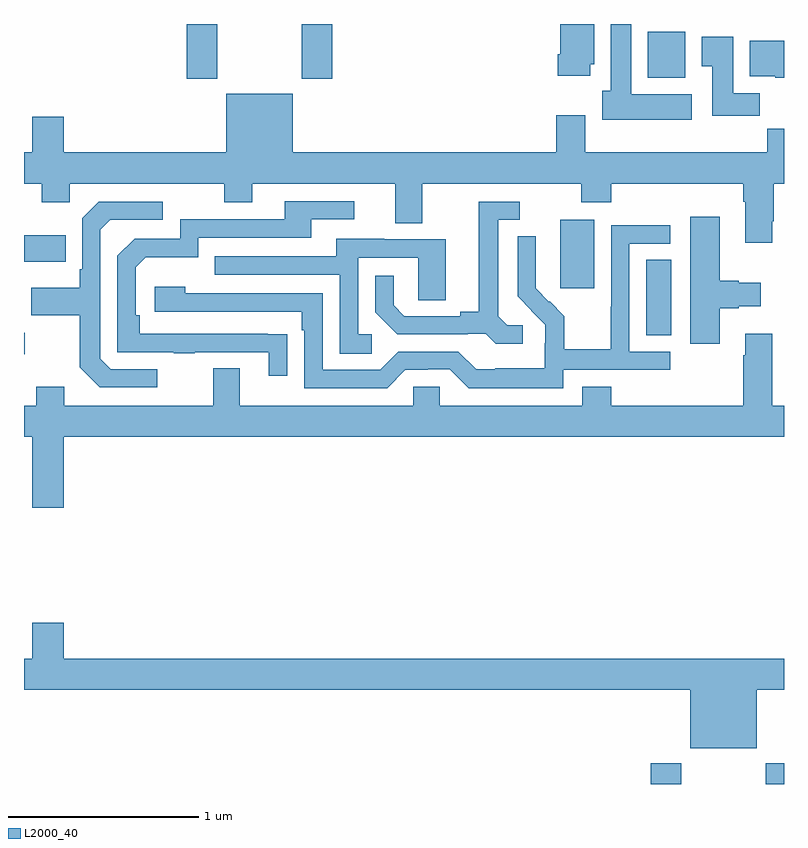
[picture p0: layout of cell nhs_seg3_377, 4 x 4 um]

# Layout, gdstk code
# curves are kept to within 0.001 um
import gdstk
lib = gdstk.Library(unit=1e-6, precision=1e-09)
def R(c, l, rs):  # rectangles x0, y0, x1, y1
    for r in rs: c.add(gdstk.rectangle(r[:2], r[2:], *l))
def P(c, l, *ps):  # polygons
    for p in ps: c.add(gdstk.Polygon(p, *l))
L2000_40 = (2000, 40)

nhs_seg3_377 = lib.new_cell('nhs_seg3_377')
R(nhs_seg3_377, L2000_40, [(132.299,720.4,132.459,720.508), (132.904,720.4,133,720.508), (129,722.661,129.004,722.774), (132.275,722.761,132.406,723.158), (131.822,723.009,132.001,723.37), (129,723.149,129.221,723.289), (129.857,724.113,130.017,724.4), (130.462,724.113,130.622,724.4), (132.284,724.118,132.481,724.36)])
P(nhs_seg3_377, L2000_40, [(131.98,724.188),(132.001,724.188),(132.001,724.4),(131.822,724.4),(131.822,724.24),(131.81,724.24),(131.81,724.128),(131.98,724.128)],
  [(132.514,724.03),(132.196,724.03),(132.196,724.4),(132.089,724.4),(132.089,724.05),(132.044,724.05),(132.044,723.896),(132.514,723.896)],
  [(132.872,724.036),(132.733,724.036),(132.733,724.333),(132.566,724.333),(132.566,724.177),(132.623,724.177),(132.623,723.918),(132.872,723.918)],
  [(133,724.312),(132.821,724.312),(132.821,724.124),(132.954,724.124),(132.954,724.118),(133,724.118)],
  [(132.937,723.361),(132.945,723.361),(132.945,723.56),(133,723.56),(133,723.848),(132.913,723.848),(132.913,723.724),(131.953,723.724),(131.953,723.919),(131.801,723.919),(131.801,723.724),(130.414,723.724),(130.414,724.033),(130.064,724.033),(130.064,723.724),(129.208,723.724),(129.208,723.913),(129.044,723.913),(129.044,723.724),(129,723.724),(129,723.56),(129.094,723.56),(129.094,723.461),(129.24,723.461),(129.24,723.56),(130.054,723.56),(130.054,723.461),(130.201,723.461),(130.201,723.56),(130.955,723.56),(130.955,723.352),(131.095,723.352),(131.095,723.56),(131.932,723.56),(131.932,723.461),(132.092,723.461),(132.092,723.56),(132.785,723.56),(132.785,723.464),(132.797,723.464),(132.797,723.249),(132.937,723.249)],
  [(130.385,722.768),(129.608,722.769),(129.608,722.866),(129.588,722.866),(129.588,723.12),(129.641,723.173),(129.918,723.173),(129.918,723.276),(130.513,723.276),(130.513,723.372),(130.738,723.372),(130.738,723.468),(130.373,723.468),(130.373,723.372),(129.822,723.372),(129.822,723.27),(129.582,723.27),(129.492,723.18),(129.492,722.673),(129.787,722.673),(129.787,722.668),(129.899,722.668),(129.899,722.673),(130.289,722.673),(130.289,722.55),(130.385,722.55)],
  [(129.7,722.583),(129.456,722.583),(129.402,722.637),(129.402,723.318),(129.453,723.369),(129.73,723.369),(129.73,723.465),(129.393,723.465),(129.306,723.378),(129.306,723.109),(129.294,723.109),(129.294,723.013),(129.037,723.013),(129.037,722.866),(129.294,722.866),(129.294,722.593),(129.399,722.487),(129.7,722.487)],
  [(131.626,722.814),(131.544,722.814),(131.497,722.861),(131.497,723.369),(131.608,723.369),(131.608,723.465),(131.393,723.465),(131.393,722.885),(131.297,722.885),(131.297,722.862),(131.002,722.862),(130.945,722.919),(130.945,723.076),(130.848,723.076),(130.848,722.882),(130.964,722.766),(131.336,722.766),(131.336,722.769),(131.43,722.769),(131.482,722.717),(131.626,722.717)],
  [(132.661,722.903),(132.761,722.903),(132.761,722.915),(132.877,722.915),(132.877,723.037),(132.761,723.037),(132.761,723.05),(132.661,723.05),(132.661,723.385),(132.506,723.385),(132.506,722.718),(132.661,722.718)],
  [(131.838,722.58),(132.4,722.58),(132.4,722.676),(132.186,722.676),(132.186,723.243),(132.4,723.243),(132.4,723.342),(132.09,723.342),(132.09,722.912),(132.088,722.912),(132.088,722.689),(131.843,722.689),(131.843,722.863),(131.766,722.94),(131.763,722.937),(131.693,723.008),(131.694,723.284),(131.598,723.284),(131.598,722.966),(131.744,722.818),(131.744,722.721),(131.742,722.721),(131.742,722.587),(131.479,722.587),(131.479,722.583),(131.379,722.583),(131.286,722.676),(130.971,722.676),(130.875,722.58),(130.572,722.58),(130.572,722.982),(129.848,722.982),(129.848,723.016),(129.687,723.016),(129.687,722.886),(130.463,722.886),(130.463,722.789),(130.476,722.789),(130.476,722.484),(130.911,722.484),(131.007,722.58),(131.126,722.58),(131.126,722.583),(131.241,722.583),(131.341,722.483),(131.838,722.483)],
  [(130.831,722.766),(130.758,722.766),(130.758,723.171),(131.076,723.171),(131.076,722.947),(131.221,722.947),(131.221,723.267),(130.897,723.267),(130.897,723.271),(130.643,723.271),(130.643,723.177),(130.003,723.177),(130.003,723.081),(130.662,723.081),(130.662,722.665),(130.831,722.665)],
  [(133,722.392),(132.937,722.392),(132.937,722.77),(132.797,722.77),(132.797,722.657),(132.785,722.657),(132.785,722.392),(132.092,722.392),(132.092,722.491),(131.939,722.491),(131.939,722.392),(131.187,722.392),(131.187,722.49),(131.049,722.49),(131.049,722.392),(130.135,722.392),(130.135,722.587),(129.995,722.587),(129.995,722.392),(129.211,722.392),(129.211,722.491),(129.064,722.491),(129.064,722.392),(129,722.392),(129,722.228),(129.044,722.228),(129.044,721.854),(129.208,721.854),(129.208,722.228),(133,722.228)],
  [(132.856,720.896),(133,720.896),(133,721.06),(129.208,721.06),(129.208,721.249),(129.044,721.249),(129.044,721.06),(129,721.06),(129,720.896),(132.506,720.896),(132.506,720.587),(132.856,720.587)])

lib.write_gds('nhs_seg3_377.gds')
